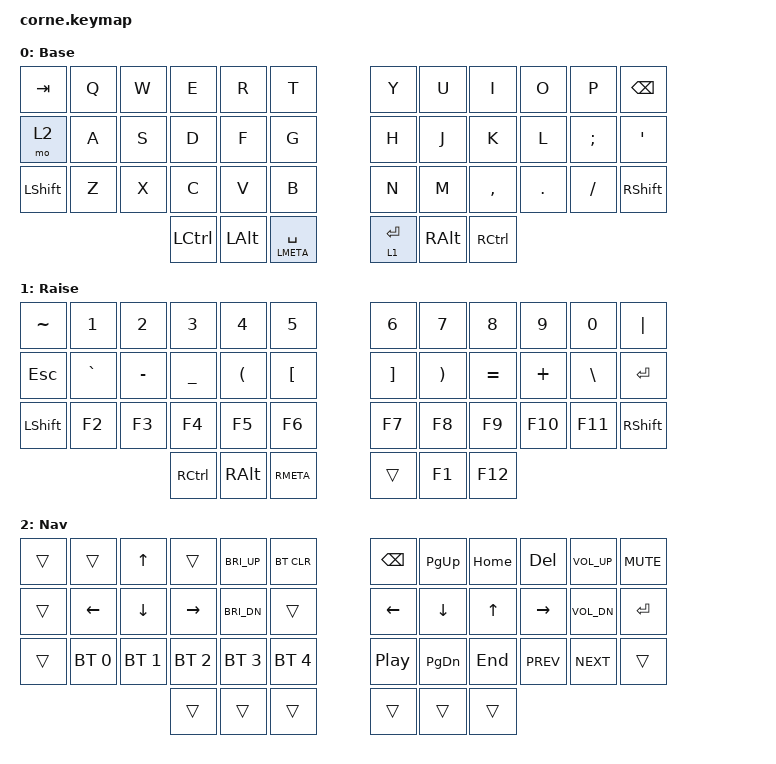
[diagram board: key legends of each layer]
/*
 * Copyright (c) 2020 The ZMK Contributors
 *
 * SPDX-License-Identifier: MIT
 */

#include <behaviors.dtsi>
#include <dt-bindings/zmk/keys.h>
#include <dt-bindings/zmk/bt.h>

/ {
    behaviors {
        hm: holdtap_mods {
            compatible = "zmk,behavior-hold-tap";
            #binding-cells = <2>;
            flavor = "tap-preferred";
            tapping-term-ms = <200>;
            quick-tap-ms = <200>;
            require-prior-idle-ms = <100>;
            bindings = <&kp>, <&kp>;
        };

        lm: layer_mods {
            compatible = "zmk,behavior-hold-tap";
            #binding-cells = <2>;
            flavor = "tap-preferred";
            tapping-term-ms = <200>;
            quick-tap-ms = <200>;
            bindings = <&mo>, <&kp>;
        };
    };

    keymap {
                compatible = "zmk,keymap";

                default_layer {
// -----------------------------------------------------------------------------------------
// |  TAB |  Q  |  W  |  E  |  R  |  T  |   |  Y  |  U  |  I  |  O  |  P  | BKSP |
// | NAVG |  A  |  S  |  D  |  F  |  G  |   |  H  |  J  |  K  |  L  |  ;  |  '   |
// | SHFT |  Z  |  X  |  C  |  V  |  B  |   |  N  |  M  |  ,  |  .  |  /  | SHFT |
//                    | CTL | ALT | SPC |   | RET | ALT | CTL |
//                                | MTA |   | RSE |
                        display-name = "Base";
                        bindings = <
   &kp TAB    &kp Q     &kp W     &kp E     &kp R     &kp T             &kp Y      &kp U     &kp I     &kp O     &kp P     &kp BSPC
   &mo 2      &kp A     &kp S     &kp D     &kp F     &kp G             &kp H      &kp J     &kp K     &kp L     &kp SEMI  &kp SQT
   &kp LSHFT  &kp Z     &kp X     &kp C     &kp V     &kp B             &kp N      &kp M     &kp COMMA &kp DOT   &kp FSLH  &kp RSHFT
                                  &kp LCTRL &kp LALT  &hm LMETA SPACE   &lm 1 RET  &kp RALT  &kp RCTRL
                        >;
                };

                raise_layer {
// -----------------------------------------------------------------------------------------
// |   ~  |  1  |  2  |  3  |  4  |  5  |   |  6  |  7  |  8  |  9  |  0  | "|"  |
// |  ESC |  `  |  -  |  _  |  (  |  [  |   |  ]  |  )  |  =  |  +  |  \  | ENT  |
// | SHFT | F2  | F3  | F4  | F5  | F6  |   | F7  | F8  | F9  | F10 | F11 | SHFT |
//                    | CTL | ALT | MTA |   |     | F1  | F12 |
                        display-name = "Raise";
                        bindings = <
   &kp TILDE &kp N1    &kp N2    &kp N3    &kp N4    &kp N5          &kp N6    &kp N7    &kp N8    &kp N9    &kp N0    &kp PIPE
   &kp ESC   &kp GRAVE &kp MINUS &kp UNDER &kp LPAR  &kp LBKT        &kp RBKT  &kp RPAR  &kp EQUAL &kp PLUS  &kp BSLH  &kp RET
   &kp LSHFT &kp F2    &kp F3    &kp F4    &kp F5    &kp F6          &kp F7    &kp F8    &kp F9    &kp F10   &kp F11   &kp RSHFT
                    	         &kp RCTRL &kp RALT  &kp RMETA       &trans    &kp F1    &kp F12
                        >;
                };

                navigation_layer {
// -----------------------------------------------------------------------------------------
// |      |     | UP  |     | BUP | BTC |   | BKS | PUP | HME | DEL | VUP | MUTE |
// |      | LFT | DWN | RGT | BDN |     |   | LFT | DWN | UP  | RGT | VDN | ENT  |
// |      | BT1 | BT2 | BT3 | BT4 | BT5 |   | PLY | PDN | END | PRV | NXT |      |
//                    |     |     |     |   |     |     |     |
                        display-name = "Nav";
                        bindings = <
   &trans     &trans       &kp UP       &trans       &kp C_BRI_UP &bt BT_CLR             &kp BSPC   &kp PG_UP  &kp HOME  &kp DEL    &kp C_VOL_UP &kp C_MUTE
   &trans     &kp LEFT     &kp DOWN     &kp RIGHT    &kp C_BRI_DN &trans                 &kp LEFT   &kp DOWN   &kp UP    &kp RIGHT  &kp C_VOL_DN &kp RET
   &trans     &bt BT_SEL 0 &bt BT_SEL 1 &bt BT_SEL 2 &bt BT_SEL 3 &bt BT_SEL 4           &kp C_PP   &kp PG_DN  &kp END   &kp C_PREV &kp C_NEXT   &trans
                          	        &trans       &trans       &trans                 &trans     &trans     &trans
                        >;
                };
        };
};
